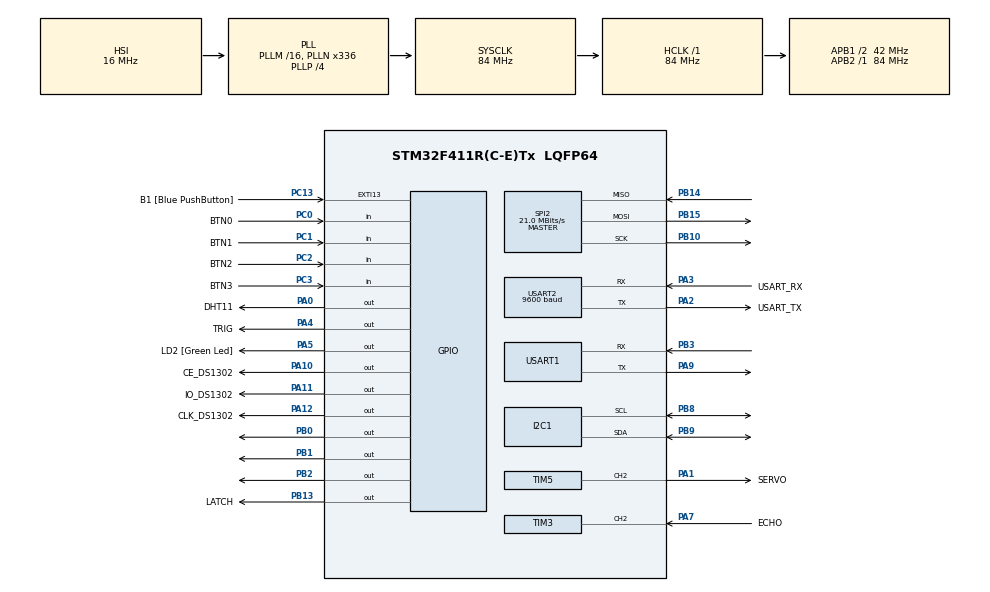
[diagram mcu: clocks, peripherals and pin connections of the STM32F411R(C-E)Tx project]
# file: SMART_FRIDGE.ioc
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<<<<<<< HEAD
FREERTOS.Tasks01=defaultTask,24,256,StartDefaultTask,Default,NULL,Dynamic,NULL,NULL;UART,8,256,UARTTask,Default,NULL,Dynamic,NULL,NULL;ULTRASONIC,8,256,UltrasonicTask,Default,NULL,Dynamic,NULL,NULL;LCD,8,256,LCDTask,Default,NULL,Dynamic,NULL,NULL;SERVO_MOTOR,8,256,ServoTask,Default,NULL,Dynamic,NULL,NULL;DHT11,8,256,DHT11Task,Default,NULL,Dynamic,NULL,NULL
=======
FREERTOS.Tasks01=defaultTask,24,128,StartDefaultTask,Default,NULL,Dynamic,NULL,NULL;UART,8,128,UARTTask,Default,NULL,Dynamic,NULL,NULL;ULTRASONIC,8,128,UltrasonicTask,Default,NULL,Dynamic,NULL,NULL;LCD,8,128,LCDTask,Default,NULL,Dynamic,NULL,NULL;SERVO_MOTOR,8,128,ServoTask,Default,NULL,Dynamic,NULL,NULL;DHT11,8,128,DHT11Task,Default,NULL,Dynamic,NULL,NULL
>>>>>>> 95147dff18777353e4155d9c14b1506f44999be0
FREERTOS.configUSE_NEWLIB_REENTRANT=1
Mcu.Family=STM32F4
Mcu.Name=STM32F411R(C-E)Tx
Mcu.Package=LQFP64
<<<<<<< HEAD
=======
>>>>>>> 95147dff18777353e4155d9c14b1506f44999be0
NVIC.PriorityGroup=NVIC_PRIORITYGROUP_4
NVIC.TIM1_TRG_COM_TIM11_IRQn=true\:5\:0\:false\:false\:true\:true\:true\:true\:true
NVIC.TIM1_UP_TIM10_IRQn=true\:15\:0\:false\:false\:true\:false\:false\:true\:true
NVIC.TIM3_IRQn=true\:5\:0\:false\:false\:true\:true\:true\:true\:true
NVIC.TimeBase=TIM1_UP_TIM10_IRQn
NVIC.TimeBaseIP=TIM10
<<<<<<< HEAD
NVIC.USART1_IRQn=true\:5\:0\:false\:false\:true\:true\:true\:true\:true
=======
>>>>>>> 95147dff18777353e4155d9c14b1506f44999be0
NVIC.USART2_IRQn=true\:5\:0\:false\:false\:true\:true\:true\:true\:true
PA0-WKUP.GPIO_Label=DHT11
PA0-WKUP.Signal=GPIO_Output
PA1.GPIO_Label=SERVO
PA1.Signal=S_TIM5_CH2
PA10.GPIO_Label=CE_DS1302
PA10.Signal=GPIO_Output
PA11.GPIO_Label=IO_DS1302
PA11.Signal=GPIO_Output
PA12.GPIO_Label=CLK_DS1302
PA12.Signal=GPIO_Output
PA13.GPIO_Label=TMS
PA13.Mode=Serial_Wire
PA13.Signal=SYS_JTMS-SWDIO
PA14.GPIO_Label=TCK
PA14.Mode=Serial_Wire
PA14.Signal=SYS_JTCK-SWCLK
PA2.GPIO_Label=USART_TX
PA2.Mode=Asynchronous
PA2.Signal=USART2_TX
PA3.GPIO_Label=USART_RX
PA3.Mode=Asynchronous
PA3.Signal=USART2_RX
PA4.GPIO_Label=TRIG
PA4.Signal=GPIO_Output
PA5.GPIO_Label=LD2 [Green Led]
PA5.Signal=GPIO_Output
PA7.GPIO_Label=ECHO
PA7.Signal=S_TIM3_CH2
PA9.Mode=Asynchronous
PA9.Signal=USART1_TX
PB0.Signal=GPIO_Output
PB1.Signal=GPIO_Output
PB10.Mode=Full_Duplex_Master
PB10.Signal=SPI2_SCK
PB13.GPIO_Label=LATCH
PB13.Signal=GPIO_Output
PB14.Mode=Full_Duplex_Master
PB14.Signal=SPI2_MISO
PB15.Mode=Full_Duplex_Master
PB15.Signal=SPI2_MOSI
PB2.Signal=GPIO_Output
PB3.Mode=Asynchronous
PB3.Signal=USART1_RX
PB8.Mode=I2C
PB8.Signal=I2C1_SCL
PB9.Mode=I2C
PB9.Signal=I2C1_SDA
PC0.GPIO_Label=BTN0
PC0.Signal=GPIO_Input
PC1.GPIO_Label=BTN1
PC1.Signal=GPIO_Input
PC13-ANTI_TAMP.GPIO_Label=B1 [Blue PushButton]
PC13-ANTI_TAMP.GPIO_ModeDefaultEXTI=GPIO_MODE_IT_FALLING
PC13-ANTI_TAMP.Signal=GPXTI13
PC14-OSC32_IN.Mode=LSE-External-Oscillator
PC14-OSC32_IN.Signal=RCC_OSC32_IN
PC15-OSC32_OUT.Mode=LSE-External-Oscillator
PC15-OSC32_OUT.Signal=RCC_OSC32_OUT
PC2.GPIO_Label=BTN2
PC2.Signal=GPIO_Input
PC3.GPIO_Label=BTN3
PC3.Signal=GPIO_Input
PH0\ -\ OSC_IN.Mode=HSE-External-Clock-Source
PH0\ -\ OSC_IN.Signal=RCC_OSC_IN
PH1\ -\ OSC_OUT.Mode=HSE-External-Clock-Source
PH1\ -\ OSC_OUT.Signal=RCC_OSC_OUT
<<<<<<< HEAD
=======
>>>>>>> 95147dff18777353e4155d9c14b1506f44999be0
ProjectManager.HeapSize=0x200
ProjectManager.StackSize=0x400
ProjectManager.TargetToolchain=STM32CubeIDE
RCC.48MHZClocksFreq_Value=84000000
RCC.AHBFreq_Value=84000000
RCC.APB1CLKDivider=RCC_HCLK_DIV2
RCC.APB1Freq_Value=42000000
RCC.APB1TimFreq_Value=84000000
RCC.APB2Freq_Value=84000000
RCC.APB2TimFreq_Value=84000000
RCC.CortexFreq_Value=84000000
RCC.FLatency-AdvancedSettings=FLASH_LATENCY_2
RCC.HCLKFreq_Value=84000000
RCC.HSE_VALUE=8000000
RCC.HSI_VALUE=16000000
RCC.PLLN=336
RCC.PLLP=RCC_PLLP_DIV4
RCC.SYSCLKFreq_VALUE=84000000
RCC.SYSCLKSource=RCC_SYSCLKSOURCE_PLLCLK
RCC.VCOOutputFreq_Value=336000000
SH.S_TIM3_CH2.0=TIM3_CH2,Input_Capture2_from_TI2
SH.S_TIM5_CH2.0=TIM5_CH2,PWM Generation2 CH2
SPI2.CalculateBaudRate=21.0 MBits/s
SPI2.Direction=SPI_DIRECTION_2LINES
SPI2.Mode=SPI_MODE_MASTER
SPI2.VirtualType=VM_MASTER
TIM11.Period=1000-1
TIM11.Prescaler=84-1
TIM2.Prescaler=84-1
TIM3.Channel-Input_Capture2_from_TI2=TIM_CHANNEL_2
TIM3.ICPolarity_CH2=TIM_INPUTCHANNELPOLARITY_BOTHEDGE
TIM3.Prescaler=84-1
TIM5.Channel-PWM\ Generation2\ CH2=TIM_CHANNEL_2
TIM5.Period=1000-1
TIM5.Prescaler=1680-1
USART1.VirtualMode=VM_ASYNC
USART2.BaudRate=9600
USART2.VirtualMode=VM_ASYNC
VP_FREERTOS_VS_CMSIS_V2.Mode=CMSIS_V2
VP_SYS_VS_tim10.Mode=TIM10
VP_TIM11_VS_ClockSourceINT.Mode=Enable_Timer
VP_TIM2_VS_ClockSourceINT.Mode=Internal
VP_TIM3_VS_ClockSourceINT.Mode=Internal
board=NUCLEO-F411RE

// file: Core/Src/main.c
/* USER CODE BEGIN Header */
/**
 ******************************************************************************
 * @file           : main.c
 * @brief          : Main program body
 ******************************************************************************
 * @attention
 *
 * <h2><center>&copy; Copyright (c) 2025 STMicroelectronics.
 * All rights reserved.</center></h2>
 *
 * This software component is licensed by ST under BSD 3-Clause license,
 * the "License"; You may not use this file except in compliance with the
 * License. You may obtain a copy of the License at:
 *                        opensource.org/licenses/BSD-3-Clause
 *
 ******************************************************************************
 */
/* USER CODE END Header */
#include "main.h"
#include "cmsis_os.h"

/* USER CODE BEGIN Includes */
#include <stdio.h>
<<<<<<< HEAD
#include <stdint.h>
#include <string.h>

=======
#include <string.h>
>>>>>>> 95147dff18777353e4155d9c14b1506f44999be0
#include "ultra_sonic.h"
#include "i2c_lcd.h"
#include "servo_motor.h"
#include "dht11.h"
#include "uart.h"
<<<<<<< HEAD
#include "timer.h"
=======
>>>>>>> 95147dff18777353e4155d9c14b1506f44999be0

/* USER CODE END Includes */

I2C_HandleTypeDef hi2c1;

SPI_HandleTypeDef hspi2;

TIM_HandleTypeDef htim2;
TIM_HandleTypeDef htim3;
TIM_HandleTypeDef htim5;
TIM_HandleTypeDef htim11;

UART_HandleTypeDef huart1;
UART_HandleTypeDef huart2;

/* Definitions for defaultTask */
osThreadId_t defaultTaskHandle;
const osThreadAttr_t defaultTask_attributes = {
  .name = "defaultTask",
<<<<<<< HEAD
  .stack_size = 256 * 4,
=======
  .stack_size = 128 * 4,
>>>>>>> 95147dff18777353e4155d9c14b1506f44999be0
  .priority = (osPriority_t) osPriorityNormal,
};
/* Definitions for UART */
osThreadId_t UARTHandle;
const osThreadAttr_t UART_attributes = {
  .name = "UART",
<<<<<<< HEAD
  .stack_size = 256 * 4,
=======
  .stack_size = 128 * 4,
>>>>>>> 95147dff18777353e4155d9c14b1506f44999be0
  .priority = (osPriority_t) osPriorityLow,
};
/* Definitions for ULTRASONIC */
osThreadId_t ULTRASONICHandle;
const osThreadAttr_t ULTRASONIC_attributes = {
  .name = "ULTRASONIC",
<<<<<<< HEAD
  .stack_size = 256 * 4,
=======
  .stack_size = 128 * 4,
>>>>>>> 95147dff18777353e4155d9c14b1506f44999be0
  .priority = (osPriority_t) osPriorityLow,
};
/* Definitions for LCD */
osThreadId_t LCDHandle;
const osThreadAttr_t LCD_attributes = {
  .name = "LCD",
<<<<<<< HEAD
  .stack_size = 256 * 4,
=======
  .stack_size = 128 * 4,
>>>>>>> 95147dff18777353e4155d9c14b1506f44999be0
  .priority = (osPriority_t) osPriorityLow,
};
/* Definitions for SERVO_MOTOR */
osThreadId_t SERVO_MOTORHandle;
const osThreadAttr_t SERVO_MOTOR_attributes = {
  .name = "SERVO_MOTOR",
<<<<<<< HEAD
  .stack_size = 256 * 4,
=======
  .stack_size = 128 * 4,
>>>>>>> 95147dff18777353e4155d9c14b1506f44999be0
  .priority = (osPriority_t) osPriorityLow,
};
/* Definitions for DHT11 */
osThreadId_t DHT11Handle;
const osThreadAttr_t DHT11_attributes = {
  .name = "DHT11",
<<<<<<< HEAD
  .stack_size = 256 * 4,
=======
  .stack_size = 128 * 4,
>>>>>>> 95147dff18777353e4155d9c14b1506f44999be0
  .priority = (osPriority_t) osPriorityLow,
};
/* USER CODE BEGIN PV */
uint8_t rx_data;		//UART2 RX byte
volatile int TIM11_1ms_counter = 0;
volatile int TIM11_sec_counter=0;

// 전역 변수
volatile float distance = 0; // 거리(초음파)
volatile uint8_t temperature_int = 0, temperature_dec = 0; // 온도
volatile uint8_t humidity_int = 0, humidity_dec = 0; // 습도

/* USER CODE END PV */

void SystemClock_Config(void);
static void MX_GPIO_Init(void);
static void MX_USART2_UART_Init(void);
static void MX_TIM11_Init(void);
static void MX_TIM2_Init(void);
static void MX_I2C1_Init(void);
static void MX_TIM3_Init(void);
static void MX_TIM5_Init(void);
static void MX_SPI2_Init(void);
static void MX_USART1_UART_Init(void);
void StartDefaultTask(void *argument);
void UARTTask(void *argument);
void UltrasonicTask(void *argument);
void LCDTask(void *argument);
void ServoTask(void *argument);
void DHT11Task(void *argument);

/* USER CODE BEGIN 0 */
#ifdef __GNUC__    // Add for printf
/* With GCC, small printf (option LD Linker->Libraries->Small printf
   set to 'Yes') calls __io_putchar() */
#define PUTCHAR_PROTOTYPE int __io_putchar(int ch)
#else
#define PUTCHAR_PROTOTYPE int fputc(int ch, FILE *f)
#endif /* __GNUC__ */
/**
 * @brief  Retargets the C library printf function to the USART.
 * @param  None
 * @retval None
 */
PUTCHAR_PROTOTYPE   // Add for printf
{
	/* Place your implementation of fputc here */
	/* e.g. write a character to the USART3 and Loop until the end of transmission */
	HAL_UART_Transmit(&huart2, (uint8_t *)&ch, 1, 0xFFFF);

	return ch;
}
/* USER CODE END 0 */

int main(void)
{
<<<<<<< HEAD
=======

>>>>>>> 95147dff18777353e4155d9c14b1506f44999be0

  /* MCU Configuration--------------------------------------------------------*/

  /* Reset of all peripherals, Initializes the Flash interface and the Systick. */
  HAL_Init();

  /* Configure the system clock */
  SystemClock_Config();

  /* Initialize all configured peripherals */
  MX_GPIO_Init();
  MX_USART2_UART_Init();
  MX_TIM11_Init();
  MX_TIM2_Init();
  MX_I2C1_Init();
  MX_TIM3_Init();
  MX_TIM5_Init();
  MX_SPI2_Init();
  MX_USART1_UART_Init();
  /* USER CODE BEGIN 2 */
<<<<<<< HEAD
=======

  printf("start\r\n");
>>>>>>> 95147dff18777353e4155d9c14b1506f44999be0
	HAL_UART_Receive_IT(&huart2, &rx_data, 1);
	HAL_TIM_Base_Start_IT(&htim11);
	HAL_TIM_Base_Start_IT(&htim2);	// for make delay_us

	// RESET MODULES
	//i2c_lcd_init();
	ultra_sonic_init();
	servo_motor_init();
	dht11_init();

	HAL_TIM_IC_Start_IT(&htim3, TIM_CHANNEL_2);
  /* USER CODE END 2 */

  /* Init scheduler */
  osKernelInitialize();

  /* USER CODE BEGIN RTOS_MUTEX */
	//lcdMutexHandle = osMutexNew(&lcdMutex_attributes);
  /* USER CODE END RTOS_MUTEX */

  /* Create the thread(s) */
  /* creation of defaultTask */
  defaultTaskHandle = osThreadNew(StartDefaultTask, NULL, &defaultTask_attributes);

  /* creation of UART */
  UARTHandle = osThreadNew(UARTTask, NULL, &UART_attributes);

  /* creation of ULTRASONIC */
  ULTRASONICHandle = osThreadNew(UltrasonicTask, NULL, &ULTRASONIC_attributes);

  /* creation of LCD */
  LCDHandle = osThreadNew(LCDTask, NULL, &LCD_attributes);

  /* creation of SERVO_MOTOR */
  SERVO_MOTORHandle = osThreadNew(ServoTask, NULL, &SERVO_MOTOR_attributes);

  /* creation of DHT11 */
  DHT11Handle = osThreadNew(DHT11Task, NULL, &DHT11_attributes);

  /* Start scheduler */
  osKernelStart();

  /* We should never get here as control is now taken by the scheduler */
<<<<<<< HEAD
=======

>>>>>>> 95147dff18777353e4155d9c14b1506f44999be0
  /* Infinite loop */
  /* USER CODE BEGIN WHILE */
	while (1)
	{
		//ultra_sonic_task_handler();
		//HAL_Delay(500);
		//siren(3);
		//button_led_toggle_test();

		//HAL_GPIO_TogglePin(GPIOA, GPIO_PIN_5);
		//HAL_Delay(500);
		//	  HAL_GPIO_WritePin(GPIOB, 0xff, 1);
		//	  HAL_Delay(500);
		//	  HAL_GPIO_WritePin(GPIOB, 0xff, 0);
		//	  HAL_Delay(500);
    /* USER CODE END WHILE */

	}
}

void SystemClock_Config(void)
{
  RCC_OscInitTypeDef RCC_OscInitStruct = {0};
  RCC_ClkInitTypeDef RCC_ClkInitStruct = {0};

  /** Configure the main internal regulator output voltage
  */
  __HAL_RCC_PWR_CLK_ENABLE();
  __HAL_PWR_VOLTAGESCALING_CONFIG(PWR_REGULATOR_VOLTAGE_SCALE1);
<<<<<<< HEAD
=======

>>>>>>> 95147dff18777353e4155d9c14b1506f44999be0
  /** Initializes the RCC Oscillators according to the specified parameters
  * in the RCC_OscInitTypeDef structure.
  */
  RCC_OscInitStruct.OscillatorType = RCC_OSCILLATORTYPE_HSI;
  RCC_OscInitStruct.HSIState = RCC_HSI_ON;
  RCC_OscInitStruct.HSICalibrationValue = RCC_HSICALIBRATION_DEFAULT;
  RCC_OscInitStruct.PLL.PLLState = RCC_PLL_ON;
  RCC_OscInitStruct.PLL.PLLSource = RCC_PLLSOURCE_HSI;
  RCC_OscInitStruct.PLL.PLLM = 16;
  RCC_OscInitStruct.PLL.PLLN = 336;
  RCC_OscInitStruct.PLL.PLLP = RCC_PLLP_DIV4;
  RCC_OscInitStruct.PLL.PLLQ = 4;
  if (HAL_RCC_OscConfig(&RCC_OscInitStruct) != HAL_OK)
  {
    Error_Handler();
  }
<<<<<<< HEAD
=======

>>>>>>> 95147dff18777353e4155d9c14b1506f44999be0
  /** Initializes the CPU, AHB and APB buses clocks
  */
  RCC_ClkInitStruct.ClockType = RCC_CLOCKTYPE_HCLK|RCC_CLOCKTYPE_SYSCLK
                              |RCC_CLOCKTYPE_PCLK1|RCC_CLOCKTYPE_PCLK2;
  RCC_ClkInitStruct.SYSCLKSource = RCC_SYSCLKSOURCE_PLLCLK;
  RCC_ClkInitStruct.AHBCLKDivider = RCC_SYSCLK_DIV1;
  RCC_ClkInitStruct.APB1CLKDivider = RCC_HCLK_DIV2;
  RCC_ClkInitStruct.APB2CLKDivider = RCC_HCLK_DIV1;

  if (HAL_RCC_ClockConfig(&RCC_ClkInitStruct, FLASH_LATENCY_2) != HAL_OK)
  {
    Error_Handler();
  }
}

static void MX_I2C1_Init(void)
{

  hi2c1.Instance = I2C1;
  hi2c1.Init.ClockSpeed = 100000;
  hi2c1.Init.DutyCycle = I2C_DUTYCYCLE_2;
  hi2c1.Init.OwnAddress1 = 0;
  hi2c1.Init.AddressingMode = I2C_ADDRESSINGMODE_7BIT;
  hi2c1.Init.DualAddressMode = I2C_DUALADDRESS_DISABLE;
  hi2c1.Init.OwnAddress2 = 0;
  hi2c1.Init.GeneralCallMode = I2C_GENERALCALL_DISABLE;
  hi2c1.Init.NoStretchMode = I2C_NOSTRETCH_DISABLE;
  if (HAL_I2C_Init(&hi2c1) != HAL_OK)
  {
    Error_Handler();
  }

}

static void MX_SPI2_Init(void)
{

  /* SPI2 parameter configuration*/
  hspi2.Instance = SPI2;
  hspi2.Init.Mode = SPI_MODE_MASTER;
  hspi2.Init.Direction = SPI_DIRECTION_2LINES;
  hspi2.Init.DataSize = SPI_DATASIZE_8BIT;
  hspi2.Init.CLKPolarity = SPI_POLARITY_LOW;
  hspi2.Init.CLKPhase = SPI_PHASE_1EDGE;
  hspi2.Init.NSS = SPI_NSS_SOFT;
  hspi2.Init.BaudRatePrescaler = SPI_BAUDRATEPRESCALER_2;
  hspi2.Init.FirstBit = SPI_FIRSTBIT_MSB;
  hspi2.Init.TIMode = SPI_TIMODE_DISABLE;
  hspi2.Init.CRCCalculation = SPI_CRCCALCULATION_DISABLE;
  hspi2.Init.CRCPolynomial = 10;
  if (HAL_SPI_Init(&hspi2) != HAL_OK)
  {
    Error_Handler();
  }

}

static void MX_TIM2_Init(void)
{

  TIM_ClockConfigTypeDef sClockSourceConfig = {0};
  TIM_MasterConfigTypeDef sMasterConfig = {0};

  htim2.Instance = TIM2;
  htim2.Init.Prescaler = 84-1;
  htim2.Init.CounterMode = TIM_COUNTERMODE_UP;
  htim2.Init.Period = 4294967295;
  htim2.Init.ClockDivision = TIM_CLOCKDIVISION_DIV1;
  htim2.Init.AutoReloadPreload = TIM_AUTORELOAD_PRELOAD_DISABLE;
  if (HAL_TIM_Base_Init(&htim2) != HAL_OK)
  {
    Error_Handler();
  }
  sClockSourceConfig.ClockSource = TIM_CLOCKSOURCE_INTERNAL;
  if (HAL_TIM_ConfigClockSource(&htim2, &sClockSourceConfig) != HAL_OK)
  {
    Error_Handler();
  }
  sMasterConfig.MasterOutputTrigger = TIM_TRGO_RESET;
  sMasterConfig.MasterSlaveMode = TIM_MASTERSLAVEMODE_DISABLE;
  if (HAL_TIMEx_MasterConfigSynchronization(&htim2, &sMasterConfig) != HAL_OK)
  {
    Error_Handler();
  }

}

static void MX_TIM3_Init(void)
{

  TIM_ClockConfigTypeDef sClockSourceConfig = {0};
  TIM_MasterConfigTypeDef sMasterConfig = {0};
  TIM_IC_InitTypeDef sConfigIC = {0};

  htim3.Instance = TIM3;
  htim3.Init.Prescaler = 84-1;
  htim3.Init.CounterMode = TIM_COUNTERMODE_UP;
  htim3.Init.Period = 65535;
  htim3.Init.ClockDivision = TIM_CLOCKDIVISION_DIV1;
  htim3.Init.AutoReloadPreload = TIM_AUTORELOAD_PRELOAD_DISABLE;
  if (HAL_TIM_Base_Init(&htim3) != HAL_OK)
  {
    Error_Handler();
  }
  sClockSourceConfig.ClockSource = TIM_CLOCKSOURCE_INTERNAL;
  if (HAL_TIM_ConfigClockSource(&htim3, &sClockSourceConfig) != HAL_OK)
  {
    Error_Handler();
  }
  if (HAL_TIM_IC_Init(&htim3) != HAL_OK)
  {
    Error_Handler();
  }
  sMasterConfig.MasterOutputTrigger = TIM_TRGO_RESET;
  sMasterConfig.MasterSlaveMode = TIM_MASTERSLAVEMODE_DISABLE;
  if (HAL_TIMEx_MasterConfigSynchronization(&htim3, &sMasterConfig) != HAL_OK)
  {
    Error_Handler();
  }
  sConfigIC.ICPolarity = TIM_INPUTCHANNELPOLARITY_BOTHEDGE;
  sConfigIC.ICSelection = TIM_ICSELECTION_DIRECTTI;
  sConfigIC.ICPrescaler = TIM_ICPSC_DIV1;
  sConfigIC.ICFilter = 0;
  if (HAL_TIM_IC_ConfigChannel(&htim3, &sConfigIC, TIM_CHANNEL_2) != HAL_OK)
  {
    Error_Handler();
  }

}

static void MX_TIM5_Init(void)
{

  TIM_MasterConfigTypeDef sMasterConfig = {0};
  TIM_OC_InitTypeDef sConfigOC = {0};

  htim5.Instance = TIM5;
  htim5.Init.Prescaler = 1680-1;
  htim5.Init.CounterMode = TIM_COUNTERMODE_UP;
  htim5.Init.Period = 1000-1;
  htim5.Init.ClockDivision = TIM_CLOCKDIVISION_DIV1;
  htim5.Init.AutoReloadPreload = TIM_AUTORELOAD_PRELOAD_DISABLE;
  if (HAL_TIM_PWM_Init(&htim5) != HAL_OK)
  {
    Error_Handler();
  }
  sMasterConfig.MasterOutputTrigger = TIM_TRGO_RESET;
  sMasterConfig.MasterSlaveMode = TIM_MASTERSLAVEMODE_DISABLE;
  if (HAL_TIMEx_MasterConfigSynchronization(&htim5, &sMasterConfig) != HAL_OK)
  {
    Error_Handler();
  }
  sConfigOC.OCMode = TIM_OCMODE_PWM1;
  sConfigOC.Pulse = 0;
  sConfigOC.OCPolarity = TIM_OCPOLARITY_HIGH;
  sConfigOC.OCFastMode = TIM_OCFAST_DISABLE;
  if (HAL_TIM_PWM_ConfigChannel(&htim5, &sConfigOC, TIM_CHANNEL_2) != HAL_OK)
  {
    Error_Handler();
  }
  HAL_TIM_MspPostInit(&htim5);

}

static void MX_TIM11_Init(void)
{

  htim11.Instance = TIM11;
  htim11.Init.Prescaler = 84-1;
  htim11.Init.CounterMode = TIM_COUNTERMODE_UP;
  htim11.Init.Period = 1000-1;
  htim11.Init.ClockDivision = TIM_CLOCKDIVISION_DIV1;
  htim11.Init.AutoReloadPreload = TIM_AUTORELOAD_PRELOAD_DISABLE;
  if (HAL_TIM_Base_Init(&htim11) != HAL_OK)
  {
    Error_Handler();
  }

}

static void MX_USART1_UART_Init(void)
{

  huart1.Instance = USART1;
  huart1.Init.BaudRate = 115200;
  huart1.Init.WordLength = UART_WORDLENGTH_8B;
  huart1.Init.StopBits = UART_STOPBITS_1;
  huart1.Init.Parity = UART_PARITY_NONE;
  huart1.Init.Mode = UART_MODE_TX_RX;
  huart1.Init.HwFlowCtl = UART_HWCONTROL_NONE;
  huart1.Init.OverSampling = UART_OVERSAMPLING_16;
  if (HAL_UART_Init(&huart1) != HAL_OK)
  {
    Error_Handler();
  }

}

static void MX_USART2_UART_Init(void)
{

  huart2.Instance = USART2;
  huart2.Init.BaudRate = 9600;
  huart2.Init.WordLength = UART_WORDLENGTH_8B;
  huart2.Init.StopBits = UART_STOPBITS_1;
  huart2.Init.Parity = UART_PARITY_NONE;
  huart2.Init.Mode = UART_MODE_TX_RX;
  huart2.Init.HwFlowCtl = UART_HWCONTROL_NONE;
  huart2.Init.OverSampling = UART_OVERSAMPLING_16;
  if (HAL_UART_Init(&huart2) != HAL_OK)
  {
    Error_Handler();
  }

}

static void MX_GPIO_Init(void)
{
  GPIO_InitTypeDef GPIO_InitStruct = {0};
<<<<<<< HEAD
=======
>>>>>>> 95147dff18777353e4155d9c14b1506f44999be0

  /* GPIO Ports Clock Enable */
  __HAL_RCC_GPIOC_CLK_ENABLE();
  __HAL_RCC_GPIOH_CLK_ENABLE();
  __HAL_RCC_GPIOA_CLK_ENABLE();
  __HAL_RCC_GPIOB_CLK_ENABLE();

  /*Configure GPIO pin Output Level */
  HAL_GPIO_WritePin(GPIOA, DHT11_Pin|TRIG_Pin|LD2_Pin|CE_DS1302_Pin
                          |IO_DS1302_Pin|CLK_DS1302_Pin, GPIO_PIN_RESET);

  /*Configure GPIO pin Output Level */
  HAL_GPIO_WritePin(GPIOB, GPIO_PIN_0|GPIO_PIN_1|GPIO_PIN_2|LATCH_Pin, GPIO_PIN_RESET);

  /*Configure GPIO pin : B1_Pin */
  GPIO_InitStruct.Pin = B1_Pin;
  GPIO_InitStruct.Mode = GPIO_MODE_IT_FALLING;
  GPIO_InitStruct.Pull = GPIO_NOPULL;
  HAL_GPIO_Init(B1_GPIO_Port, &GPIO_InitStruct);

  /*Configure GPIO pins : BTN0_Pin BTN1_Pin BTN2_Pin BTN3_Pin */
  GPIO_InitStruct.Pin = BTN0_Pin|BTN1_Pin|BTN2_Pin|BTN3_Pin;
  GPIO_InitStruct.Mode = GPIO_MODE_INPUT;
  GPIO_InitStruct.Pull = GPIO_NOPULL;
  HAL_GPIO_Init(GPIOC, &GPIO_InitStruct);

  /*Configure GPIO pins : DHT11_Pin TRIG_Pin LD2_Pin CE_DS1302_Pin
                           IO_DS1302_Pin CLK_DS1302_Pin */
  GPIO_InitStruct.Pin = DHT11_Pin|TRIG_Pin|LD2_Pin|CE_DS1302_Pin
                          |IO_DS1302_Pin|CLK_DS1302_Pin;
  GPIO_InitStruct.Mode = GPIO_MODE_OUTPUT_PP;
  GPIO_InitStruct.Pull = GPIO_NOPULL;
  GPIO_InitStruct.Speed = GPIO_SPEED_FREQ_LOW;
  HAL_GPIO_Init(GPIOA, &GPIO_InitStruct);

  /*Configure GPIO pins : PB0 PB1 PB2 LATCH_Pin */
  GPIO_InitStruct.Pin = GPIO_PIN_0|GPIO_PIN_1|GPIO_PIN_2|LATCH_Pin;
  GPIO_InitStruct.Mode = GPIO_MODE_OUTPUT_PP;
  GPIO_InitStruct.Pull = GPIO_NOPULL;
  GPIO_InitStruct.Speed = GPIO_SPEED_FREQ_LOW;
  HAL_GPIO_Init(GPIOB, &GPIO_InitStruct);

<<<<<<< HEAD
=======
>>>>>>> 95147dff18777353e4155d9c14b1506f44999be0
}

/* USER CODE BEGIN Header_StartDefaultTask */
/**
<<<<<<< HEAD
 * @brief  Function implementing the defaultTask thread.
 * @param  argument: Not used
 * @retval None
 */
=======
  * @brief  Function implementing the defaultTask thread.
  * @param  argument: Not used
  * @retval None
  */
>>>>>>> 95147dff18777353e4155d9c14b1506f44999be0
/* USER CODE END Header_StartDefaultTask */
void StartDefaultTask(void *argument)
{
  /* USER CODE BEGIN 5 */
<<<<<<< HEAD
	/* Infinite loop */
	for(;;)
	{
		if (HAL_GPIO_ReadPin(GPIOC, GPIO_PIN_13) == GPIO_PIN_RESET)
		{
			osDelay(100); // 디바운스
			if (HAL_GPIO_ReadPin(GPIOC, GPIO_PIN_13) == GPIO_PIN_RESET)
			{
				set_event(1);
				osDelay(300);
			}
		}

		osDelay(1);
	}
=======
  /* Infinite loop */
  for(;;)
  {
      if (HAL_GPIO_ReadPin(GPIOC, GPIO_PIN_13) == GPIO_PIN_RESET)
      {
    	  osDelay(100); // 디바운스
          if (HAL_GPIO_ReadPin(GPIOC, GPIO_PIN_13) == GPIO_PIN_RESET)
          {
        	  set_event(1);
        	  osDelay(300);
          }
      }

      osDelay(1);
  }
>>>>>>> 95147dff18777353e4155d9c14b1506f44999be0
  /* USER CODE END 5 */
}

/* USER CODE BEGIN Header_UARTTask */
/**
<<<<<<< HEAD
 * @brief Function implementing the UART thread.
 * @param argument: Not used
 * @retval None
 */
=======
* @brief Function implementing the UART thread.
* @param argument: Not used
* @retval None
*/
>>>>>>> 95147dff18777353e4155d9c14b1506f44999be0
/* USER CODE END Header_UARTTask */
void UARTTask(void *argument)
{
  /* USER CODE BEGIN UARTTask */
<<<<<<< HEAD
	/* Infinite loop */
	char* message = "d\r\n";
	for(;;)
	{
		if(get_event()) {

			set_event(0);
			HAL_UART_Transmit_IT(&huart1, (uint8_t*)message, strlen(message));
			printf("%s", message);
		}

		osDelay(1);
	}
=======
  /* Infinite loop */

  char* message = "detect\r\n";
  for(;;)
  {
	if(get_event()) {

		set_event(0);
		HAL_UART_Transmit(&huart1, (uint8_t*)message, strlen(message), HAL_MAX_DELAY);

		printf("%s", message);
	}

    osDelay(1);
  }
>>>>>>> 95147dff18777353e4155d9c14b1506f44999be0
  /* USER CODE END UARTTask */
}

/* USER CODE BEGIN Header_UltrasonicTask */
/**
<<<<<<< HEAD
 * @brief Function implementing the ULTRASONIC thread.
 * @param argument: Not used
 * @retval None
 */
=======
* @brief Function implementing the ULTRASONIC thread.
* @param argument: Not used
* @retval None
*/
>>>>>>> 95147dff18777353e4155d9c14b1506f44999be0
/* USER CODE END Header_UltrasonicTask */
void UltrasonicTask(void *argument)
{
  /* USER CODE BEGIN UltrasonicTask */
<<<<<<< HEAD
	/* Infinite loop */
	for(;;)
	{
		ultra_sonic_trigger();
		osDelay(100);
	}
=======
  /* Infinite loop */
  for(;;)
  {
		ultra_sonic_trigger();
		osDelay(100);
  }
>>>>>>> 95147dff18777353e4155d9c14b1506f44999be0
  /* USER CODE END UltrasonicTask */
}

/* USER CODE BEGIN Header_LCDTask */
/**
<<<<<<< HEAD
 * @brief Function implementing the LCD thread.
 * @param argument: Not used
 * @retval None
 */
=======
* @brief Function implementing the LCD thread.
* @param argument: Not used
* @retval None
*/
>>>>>>> 95147dff18777353e4155d9c14b1506f44999be0
/* USER CODE END Header_LCDTask */
void LCDTask(void *argument)
{
  /* USER CODE BEGIN LCDTask */
<<<<<<< HEAD
	/* Infinite loop */
	char buf[32];  // 크기는 상황에 따라 적절히 조정
	for(;;)
	{
=======
  /* Infinite loop */
  char buf[32];  // 크기는 상황에 따라 적절히 조정
  for(;;)
  {
>>>>>>> 95147dff18777353e4155d9c14b1506f44999be0
		// 0번 라인 초기화 후 출력
		move_cursor(0, 0);
		snprintf(buf, sizeof(buf), "T:%d.%d H:%d.%d     ", temperature_int, temperature_dec, humidity_int, humidity_dec);
		lcd_string((uint8_t*)buf);

		// 1번 라인 초기화 후 출력
		move_cursor(1, 0);
		snprintf(buf, sizeof(buf), "D:%5.1fcm        ", distance);  // %5.1f로 길이 보장
		lcd_string((uint8_t*)buf);

		osDelay(500);
<<<<<<< HEAD
	}
=======
  }
>>>>>>> 95147dff18777353e4155d9c14b1506f44999be0
  /* USER CODE END LCDTask */
}

/* USER CODE BEGIN Header_ServoTask */
/**
<<<<<<< HEAD
 * @brief Function implementing the SERVO_MOTOR thread.
 * @param argument: Not used
 * @retval None
 */
=======
* @brief Function implementing the SERVO_MOTOR thread.
* @param argument: Not used
* @retval None
*/
>>>>>>> 95147dff18777353e4155d9c14b1506f44999be0
/* USER CODE END Header_ServoTask */
void ServoTask(void *argument)
{
  /* USER CODE BEGIN ServoTask */
<<<<<<< HEAD
	/* Infinite loop */
	for(;;)
	{
		servo_motor_update();  // 모듈 함수 호출
		osDelay(100);
	}
=======
  /* Infinite loop */
  for(;;)
  {
		servo_motor_update();  // 모듈 함수 호출
		osDelay(100);
  }
>>>>>>> 95147dff18777353e4155d9c14b1506f44999be0
  /* USER CODE END ServoTask */
}

/* USER CODE BEGIN Header_DHT11Task */
/**
<<<<<<< HEAD
 * @brief Function implementing the DHT11 thread.
 * @param argument: Not used
 * @retval None
 */
=======
* @brief Function implementing the DHT11 thread.
* @param argument: Not used
* @retval None
*/
>>>>>>> 95147dff18777353e4155d9c14b1506f44999be0
/* USER CODE END Header_DHT11Task */
void DHT11Task(void *argument)
{
  /* USER CODE BEGIN DHT11Task */
<<<<<<< HEAD
	/* Infinite loop */
	for(;;)
	{
=======
  /* Infinite loop */
  for(;;)
  {
>>>>>>> 95147dff18777353e4155d9c14b1506f44999be0
		dht11_read();  // dht11_data[] 갱신
		temperature_int = dht11_data[2];
		temperature_dec = dht11_data[3];
		humidity_int = dht11_data[0];
		humidity_dec = dht11_data[1];
		osDelay(500);
<<<<<<< HEAD
	}
=======
  }
>>>>>>> 95147dff18777353e4155d9c14b1506f44999be0
  /* USER CODE END DHT11Task */
}

void HAL_TIM_PeriodElapsedCallback(TIM_HandleTypeDef *htim)
{
<<<<<<< HEAD
  if (htim->Instance == TIM10) {
=======
  if (htim->Instance == TIM10)
  {
>>>>>>> 95147dff18777353e4155d9c14b1506f44999be0
    HAL_IncTick();
  }
  /* USER CODE BEGIN Callback 1 */
	// Timer 11번
	if (htim->Instance == TIM11)
	{
		TIM11_1ms_counter++;
		TIM11_sec_counter++;
	}
  /* USER CODE END Callback 1 */
}

void Error_Handler(void)
{
	__disable_irq();
	while (1)
	{
	}
}

<<<<<<< HEAD

/************************ (C) COPYRIGHT STMicroelectronics *****END OF FILE****/
=======
>>>>>>> 95147dff18777353e4155d9c14b1506f44999be0
